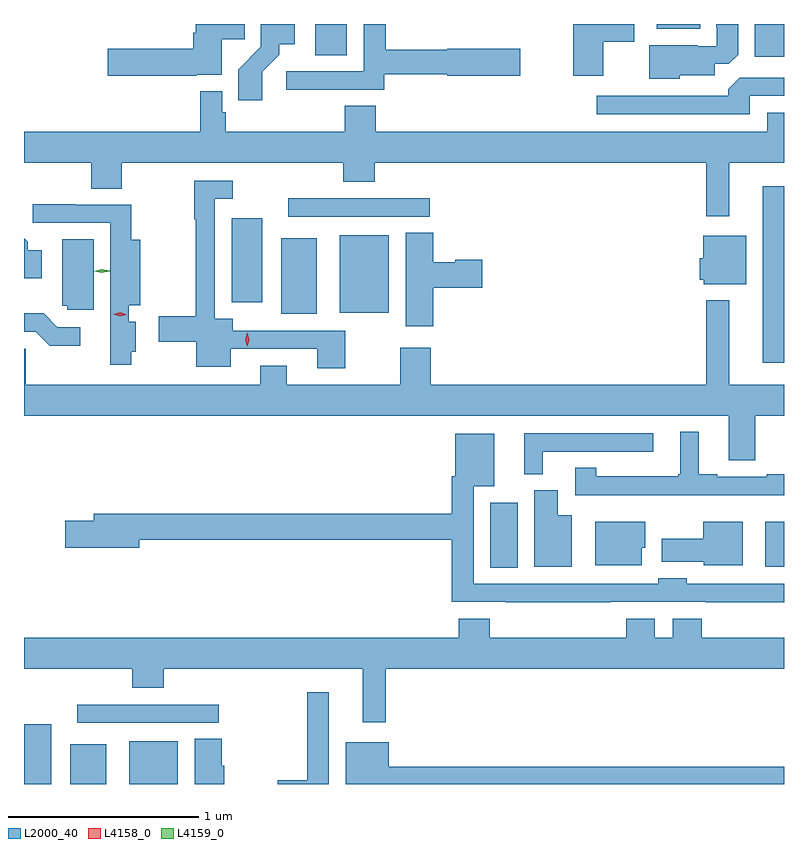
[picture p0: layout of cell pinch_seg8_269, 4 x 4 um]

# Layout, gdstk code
import gdstk
lib = gdstk.Library(unit=1e-6, precision=1e-09)
def R(c, l, rs):  # rectangles x0, y0, x1, y1
    for r in rs: c.add(gdstk.rectangle(r[:2], r[2:], *l))
def P(c, l, *ps):  # polygons
    for p in ps: c.add(gdstk.Polygon(p, *l))
L2000_40 = (2000, 40)
L4158_0 = (4158, 0)
L4159_0 = (4159, 0)

pinch_seg8_269 = lib.new_cell('pinch_seg8_269')
R(pinch_seg8_269, L2000_40, [(501.67,1157.186,501.814,1157.5), (501.914,1157.186,502.102,1157.395), (502.223,1157.186,502.48,1157.41), (501.951,1157.508,502.696,1157.604), (504.125,1158.325,504.268,1158.667), (505.571,1158.329,505.67,1158.565), (505.559,1159.403,505.67,1160.332), (503.024,1159.661,503.212,1160.059), (503.333,1159.667,503.59,1160.074), (502.763,1159.721,502.924,1160.164), (503.061,1160.172,503.806,1160.268), (505.517,1161.014,505.67,1161.186), (503.204,1161.022,503.368,1161.186), (505.001,1161.161,505.228,1161.186)])
P(pinch_seg8_269, L2000_40, [(502.578,1160.918),(502.711,1160.918),(502.711,1161.106),(502.832,1161.106),(502.832,1161.186),(502.574,1161.186),(502.574,1161.14),(502.562,1161.14),(502.562,1161.056),(502.11,1161.056),(502.11,1160.914),(502.578,1160.914)],
  [(505.122,1160.915),(505.306,1160.915),(505.306,1160.976),(505.38,1160.976),(505.429,1161.025),(505.429,1161.186),(505.313,1161.186),(505.313,1161.169),(505.317,1161.169),(505.317,1161.069),(505.217,1161.069),(505.217,1161.073),(504.962,1161.073),(504.962,1160.897),(505.122,1160.897)],
  [(503.273,1160.841),(503.566,1160.841),(503.566,1160.922),(503.898,1160.922),(503.898,1160.914),(504.283,1160.914),(504.283,1161.056),(503.898,1161.056),(503.898,1161.05),(503.573,1161.05),(503.573,1161.186),(503.457,1161.186),(503.457,1160.937),(503.049,1160.937),(503.049,1160.839),(503.273,1160.839)],
  [(504.718,1161.092),(504.883,1161.092),(504.883,1161.186),(504.56,1161.186),(504.56,1160.913),(504.718,1160.913)],
  [(502.924,1160.935),(503.014,1161.025),(503.014,1161.08),(503.095,1161.08),(503.095,1161.186),(502.917,1161.186),(502.917,1161.065),(502.798,1160.946),(502.798,1160.784),(502.924,1160.784)],
  [(505.491,1160.808),(505.67,1160.808),(505.67,1160.904),(505.437,1160.904),(505.376,1160.842),(505.376,1160.808),(504.684,1160.808),(504.684,1160.712),(505.491,1160.712)],
  [(505.381,1160.456),(505.67,1160.456),(505.67,1160.719),(505.583,1160.719),(505.583,1160.62),(503.522,1160.62),(503.522,1160.756),(503.357,1160.756),(503.357,1160.62),(502.733,1160.62),(502.733,1160.721),(502.713,1160.721),(502.713,1160.833),(502.597,1160.833),(502.597,1160.62),(501.67,1160.62),(501.67,1160.456),(502.025,1160.456),(502.025,1160.32),(502.185,1160.32),(502.185,1160.456),(503.351,1160.456),(503.351,1160.357),(503.516,1160.357),(503.516,1160.456),(505.26,1160.456),(505.26,1160.175),(505.381,1160.175)],
  [(503.361,1159.572),(502.768,1159.572),(502.768,1159.636),(502.674,1159.636),(502.674,1160.265),(502.768,1160.265),(502.768,1160.361),(502.566,1160.361),(502.566,1160.158),(502.573,1160.158),(502.573,1159.649),(502.38,1159.649),(502.38,1159.514),(502.577,1159.514),(502.577,1159.382),(502.759,1159.382),(502.759,1159.476),(503.213,1159.476),(503.213,1159.374),(503.361,1159.374)],
  [(502.234,1159.46),(502.258,1159.46),(502.258,1159.618),(502.222,1159.618),(502.222,1159.706),(502.282,1159.706),(502.282,1160.05),(502.234,1160.05),(502.234,1160.235),(501.941,1160.235),(501.941,1160.238),(501.717,1160.238),(501.717,1160.139),(502.124,1160.139),(502.124,1159.392),(502.234,1159.392)],
  [(503.825,1159.799),(504.082,1159.799),(504.082,1159.946),(503.939,1159.946),(503.939,1159.933),(503.825,1159.933),(503.825,1160.087),(503.678,1160.087),(503.678,1159.596),(503.825,1159.596)],
  [(505.471,1160.071),(505.244,1160.071),(505.244,1159.953),(505.226,1159.953),(505.226,1159.839),(505.248,1159.839),(505.248,1159.817),(505.471,1159.817)],
  [(501.763,1159.996),(501.689,1159.996),(501.689,1160.039),(501.67,1160.058),(501.67,1159.848),(501.763,1159.848)],
  [(502.036,1160.053),(501.872,1160.053),(501.872,1159.704),(501.897,1159.704),(501.897,1159.683),(502.036,1159.683)],
  [(505.519,1159.124),(505.67,1159.124),(505.67,1159.288),(505.381,1159.288),(505.381,1159.732),(505.26,1159.732),(505.26,1159.288),(503.81,1159.288),(503.81,1159.483),(503.65,1159.483),(503.65,1159.288),(503.053,1159.288),(503.053,1159.387),(502.913,1159.387),(502.913,1159.288),(501.678,1159.288),(501.678,1159.478),(501.67,1159.478),(501.67,1159.124),(505.379,1159.124),(505.379,1158.889),(505.519,1158.889)],
  [(501.967,1159.59),(501.846,1159.59),(501.773,1159.663),(501.67,1159.663),(501.67,1159.566),(501.732,1159.566),(501.805,1159.493),(501.967,1159.493)],
  [(505.218,1158.707),(505.67,1158.707),(505.67,1158.817),(505.58,1158.817),(505.58,1158.804),(505.318,1158.804),(505.318,1158.817),(505.222,1158.817),(505.222,1159.039),(505.124,1159.039),(505.124,1158.817),(505.113,1158.817),(505.113,1158.805),(504.683,1158.805),(504.683,1158.851),(504.57,1158.851),(504.57,1158.707),(505.018,1158.707),(505.018,1158.706),(505.218,1158.706)],
  [(504.4,1158.936),(504.982,1158.936),(504.982,1159.032),(504.302,1159.032),(504.302,1158.817),(504.4,1158.817)],
  [(504.755,1158.144),(505.258,1158.144),(505.258,1158.143),(505.67,1158.143),(505.67,1158.24),(505.158,1158.24),(505.158,1158.268),(505.008,1158.268),(505.008,1158.24),(504.036,1158.24),(504.036,1158.752),(504.145,1158.752),(504.145,1159.03),(503.94,1159.03),(503.94,1158.806),(503.92,1158.806),(503.92,1158.608),(502.037,1158.608),(502.037,1158.572),(501.888,1158.572),(501.888,1158.43),(502.276,1158.43),(502.276,1158.472),(503.92,1158.472),(503.92,1158.144),(504.205,1158.144),(504.205,1158.143),(504.755,1158.143)],
  [(504.553,1158.601),(504.478,1158.601),(504.478,1158.732),(504.356,1158.732),(504.356,1158.329),(504.553,1158.329)],
  [(504.922,1158.429),(504.94,1158.429),(504.94,1158.565),(504.677,1158.565),(504.677,1158.338),(504.922,1158.338)],
  [(505.453,1158.565),(505.244,1158.565),(505.244,1158.478),(505.026,1158.478),(505.026,1158.356),(505.248,1158.356),(505.248,1158.338),(505.453,1158.338)],
  [(503.575,1157.792),(505.67,1157.792),(505.67,1157.956),(505.238,1157.956),(505.238,1158.055),(505.085,1158.055),(505.085,1157.956),(504.991,1157.956),(504.991,1158.055),(504.839,1158.055),(504.839,1157.956),(504.122,1157.956),(504.122,1158.055),(503.957,1158.055),(503.957,1157.956),(501.67,1157.956),(501.67,1157.792),(502.241,1157.792),(502.241,1157.693),(502.406,1157.693),(502.406,1157.792),(503.453,1157.792),(503.453,1157.511),(503.575,1157.511)],
  [(503.275,1157.668),(503.161,1157.668),(503.161,1157.206),(503.006,1157.206),(503.006,1157.186),(503.275,1157.186)],
  [(502.723,1157.283),(502.71,1157.283),(502.71,1157.423),(502.568,1157.423),(502.568,1157.186),(502.723,1157.186)],
  [(505.67,1157.276),(503.59,1157.276),(503.59,1157.407),(503.363,1157.407),(503.363,1157.186),(505.67,1157.186)])
P(pinch_seg8_269, L4158_0, [(502.844,1159.489),(502.844,1159.489),(502.835,1159.525),(502.846,1159.56),(502.846,1159.56),(502.846,1159.56),(502.855,1159.524),(502.844,1159.489)],
  [(502.175,1159.648),(502.139,1159.659),(502.139,1159.659),(502.139,1159.659),(502.176,1159.668),(502.211,1159.657),(502.211,1159.656),(502.211,1159.656)])
P(pinch_seg8_269, L4159_0, [(502.08,1159.876),(502.039,1159.886),(502.039,1159.886),(502.039,1159.886),(502.08,1159.896),(502.12,1159.887),(502.12,1159.887),(502.12,1159.886)])

lib.write_gds('pinch_seg8_269.gds')
